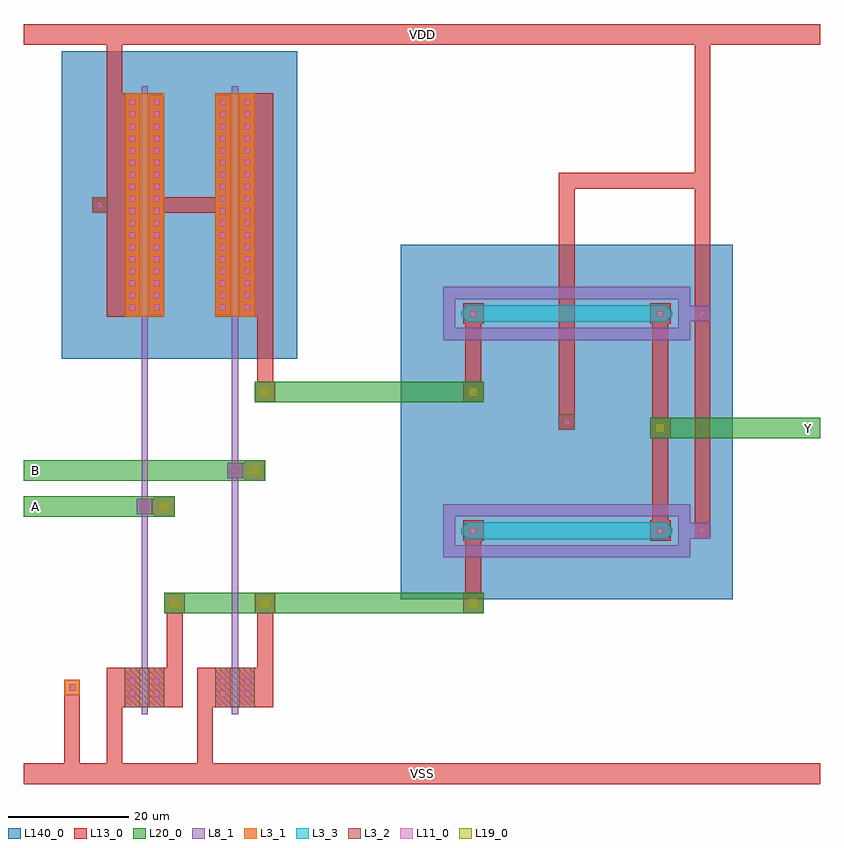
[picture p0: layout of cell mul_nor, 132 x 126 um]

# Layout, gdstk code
import gdstk
lib = gdstk.Library(unit=1e-6, precision=1e-09)
def R(c, l, rs):  # rectangles x0, y0, x1, y1
    for r in rs: c.add(gdstk.rectangle(r[:2], r[2:], *l))
def A(c, l, x, y, w, h, nx, ny, dx, dy):  # array of equal rectangles
    R(c, l, [(x+i*dx, y+j*dy, x+i*dx+w, y+j*dy+h) for i in range(nx) for j in range(ny)])
def P(c, l, *ps):  # polygons
    for p in ps: c.add(gdstk.Polygon(p, *l))
L3_1 = (3, 1)
L3_2 = (3, 2)
L3_3 = (3, 3)
L8_1 = (8, 1)
L11_0 = (11, 0)
L13_0 = (13, 0)
L19_0 = (19, 0)
L20_0 = (20, 0)
L140_0 = (140, 0)

fet_p = lib.new_cell('fet_p')
R(fet_p, L3_1, [(-3.3,-18.5,3.3,18.5)])
A(fet_p, L11_0, -2.5, -17.5, 1, 1, 1, 18, 0, 2)
A(fet_p, L11_0, 1.5, -17.5, 1, 1, 1, 18, 0, 2)
R(fet_p, L13_0, [(-3.3,-18.3,-0.7,18.3), (0.7,-18.3,3.3,18.3)])
fet_p.add(gdstk.FlexPath([(0,-19.7),(0,19.7)], 1, ends="flush", simple_path=True, layer=8, datatype=1))  # L8_1

fet_n = lib.new_cell('fet_n')
R(fet_n, L3_2, [(-3.3,-3.25,3.3,3.25)])
R(fet_n, L11_0, [(-2.5,-1.5,-1.5,-0.5), (1.5,-1.5,2.5,-0.5), (-2.5,0.5,-1.5,1.5), (1.5,0.5,2.5,1.5)])
R(fet_n, L13_0, [(-3.3,-2.3,-0.7,2.3), (0.7,-2.3,3.3,2.3)])
fet_n.add(gdstk.FlexPath([(0,-4.45),(0,4.45)], 1, ends="flush", simple_path=True, layer=8, datatype=1))  # L8_1

res_diff = lib.new_cell('res_diff')
P(res_diff, L3_3, [(-16.5,-1.4),(-17.5,-0.4),(-17.5,0.4),(-16.5,1.4),(16.5,1.4),(17.5,0.4),(17.5,-0.4),(16.5,-1.4)])
P(res_diff, L8_1, [(-20.5,-4.4),(-20.5,2.4),(-18.5,2.4),(-18.5,-2.4),(18.5,-2.4),(18.5,2.4),(-20.5,2.4),(-20.5,4.4),(20.5,4.4),(20.5,-4.4)])
R(res_diff, L11_0, [(-16,-0.5,-15,0.5), (15,-0.5,16,0.5)])
R(res_diff, L13_0, [(-17.2,-1.7,-13.8,1.7), (13.8,-1.7,17.2,1.7)])

cont_n = lib.new_cell('cont_n')
R(cont_n, L3_2, [(-1.3,-1.3,1.3,1.3)])
R(cont_n, L11_0, [(-0.5,-0.5,0.5,0.5)])
R(cont_n, L13_0, [(-1.3,-1.3,1.3,1.3)])

cont_p = lib.new_cell('cont_p')
R(cont_p, L3_1, [(-1.3,-1.3,1.3,1.3)])
R(cont_p, L11_0, [(-0.5,-0.5,0.5,0.5)])
R(cont_p, L13_0, [(-1.3,-1.3,1.3,1.3)])

cont_g = lib.new_cell('cont_g')
R(cont_g, L8_1, [(-1.3,-1.3,1.3,1.3)])
R(cont_g, L11_0, [(-0.5,-0.5,0.5,0.5)])
R(cont_g, L13_0, [(-1.3,-1.3,1.3,1.3)])

via_1 = lib.new_cell('via_1')
R(via_1, L13_0, [(-1.7,-1.7,1.7,1.7)])
R(via_1, L19_0, [(-0.7,-0.7,0.7,0.7)])
R(via_1, L20_0, [(-1.7,-1.7,1.7,1.7)])

mul_nor = lib.new_cell('mul_nor')
R(mul_nor, L8_1, [(19.5,15.5,20.5,96.5), (34.5,15.5,35.5,96.5), (109.2,40.7,113.8,43.3), (109.2,76.7,113.8,79.3)])
R(mul_nor, L13_0, [(0,0,132,3.4), (6.7,0.4,9.3,17.3), (13.7,0.4,16.3,17.3), (28.7,0.4,31.3,17.3), (13.7,12.75,19.3,19.25), (20.7,12.75,26.3,19.25), (28.7,12.75,34.3,19.25), (35.7,12.75,41.3,19.25), (13.7,14.7,19.3,17.3), (20.7,14.7,26.3,17.3), (23.7,14.7,26.3,31.3), (28.7,14.7,34.3,17.3), (35.7,14.7,41.3,17.3), (38.7,14.7,41.3,31.3), (73.2,28.7,75.8,43.3), (104.2,40.7,106.8,79.3), (111.2,40.7,113.8,101.3), (18.7,44.7,24.6,47.3), (33.7,50.7,39.6,53.3), (88.7,58.7,91.3,101.3), (38.7,63.7,41.3,97.3), (73.2,63.7,75.8,79.3), (13.7,77.5,19.3,114.5), (35.7,77.5,41.3,114.5), (11.3,94.7,16.3,97.3), (13.7,94.7,16.3,125.6), (13.7,94.7,19.3,97.3), (20.7,94.7,34.3,97.3), (35.7,94.7,41.3,97.3), (88.7,98.7,113.8,101.3), (111.2,98.7,113.8,125.6), (0,122.6,132,126)])
R(mul_nor, L20_0, [(23.3,28.3,76.2,31.7), (0,44.3,25,47.7), (0,50.3,40,53.7), (103.8,57.3,132,60.7), (38.3,63.3,76.2,66.7)])
R(mul_nor, L140_0, [(62.5,30.6,117.5,89.4), (6.3,70.5,45.3,121.5)])
mul_nor.add(gdstk.Reference(fet_p, (20,96)))
mul_nor.add(gdstk.Reference(fet_n, (20,16)))
mul_nor.add(gdstk.Reference(fet_p, (35,96)))
mul_nor.add(gdstk.Reference(fet_n, (35,16)))
mul_nor.add(gdstk.Reference(res_diff, (90,78)))
mul_nor.add(gdstk.Reference(res_diff, (90,42)))
mul_nor.add(gdstk.Reference(cont_n, (12.6,96)))
mul_nor.add(gdstk.Reference(cont_n, (90,60)))
mul_nor.add(gdstk.Reference(cont_p, (8,16)))
mul_nor.add(gdstk.Reference(cont_g, (112.5,42)))
mul_nor.add(gdstk.Reference(cont_g, (112.5,78)))
mul_nor.add(gdstk.Reference(via_1, (40,65)))
mul_nor.add(gdstk.Reference(via_1, (25,30)))
mul_nor.add(gdstk.Reference(via_1, (40,30)))
mul_nor.add(gdstk.Reference(cont_g, (20,46)))
mul_nor.add(gdstk.Reference(via_1, (23.3,46)))
mul_nor.add(gdstk.Reference(cont_g, (35,52)))
mul_nor.add(gdstk.Reference(via_1, (38.3,52)))
mul_nor.add(gdstk.Reference(via_1, (74.5,65)))
mul_nor.add(gdstk.Reference(via_1, (74.5,30)))
mul_nor.add(gdstk.Reference(via_1, (105.5,59)))
mul_nor.add(gdstk.Label('A', (2,46), layer=49, texttype=0))
mul_nor.add(gdstk.Label('B', (2,52), layer=49, texttype=0))
mul_nor.add(gdstk.Label('Y', (130,59), layer=49, texttype=0))
mul_nor.add(gdstk.Label('VDD', (66,124.3), layer=48, texttype=0))
mul_nor.add(gdstk.Label('VSS', (66,1.7), layer=48, texttype=0))

lib.write_gds('mul_nor.gds')
